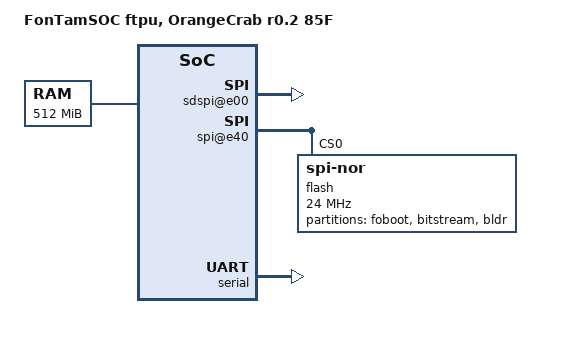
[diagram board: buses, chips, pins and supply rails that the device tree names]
// SPDX-License-Identifier: GPL-2.0-only
// 20261122 (c) William Fonkou Tambe

// FonTamSOC ftpu on the OrangeCrab r0.2 85F, as
// rv32-orangecrab0285/orangecrab0285.sv builds it: what does not depend on
// CPU_COUNT. The .dts including it adds the cpu nodes, and their interrupt
// controllers to irqctrl and to the timer.
//
// No node has a clock frequency: the kernel reads the timebase from the CSR
// 0xcc0 of the CPU, and each driver reads the clock of its device from the device
// itself; the only frequency is the limit of the SPI flash.

/ {
	#address-cells = <1>;
	#size-cells = <1>;
	model = "FonTamSOC ftpu, OrangeCrab r0.2 85F";
	compatible = "fontamsoc,orangecrab0285";

	// No baud rate: the console is the USB port, which ignores it.
	chosen {
		bootargs = "console=ttyS0 earlycon root=/dev/sd0p4 rootfstype=ext2 rootwait ro";
		stdout-path = &serial;
	};

	aliases {
		serial0 = &serial;
	};

	// DDR3 only: the SRAM from 0x1000 to 0x41000 stays apps/bootldr's, which
	// is resident, is warm-booted by any reset, and parks there the harts
	// which the kernel has not started.
	memory@41000 {
		device_type = "memory";
		reg = <0x41000 0x20000000>;
	};

	// No timebase-frequency: the kernel reads it from the CSR 0xcc0.
	cpus {
		#address-cells = <1>;
		#size-cells = <0>;
	};

	timer: timer {
		compatible = "fontamsoc,ftpu-timer";
	};

	soc {
		#address-cells = <1>;
		#size-cells = <1>;
		compatible = "simple-bus";
		interrupt-parent = <&irqctrl>;
		ranges;

		sdspi@e00 {
			compatible = "fontamsoc,sdspi";
			reg = <0xe00 0x8>;
			interrupts = <2>;
		};

		// The flash, at 24 Mbps at most, half the clock of the SPI
		// master, holds foboot, the DFU bootloader, then the bitstream,
		// then the data of apps/bootldr, up to 0xf80000, where foboot
		// stops writing.
		spi@e40 {
			compatible = "fontamsoc,spi";
			reg = <0xe40 0x8>;
			interrupts = <3>;
			#address-cells = <1>;
			#size-cells = <0>;

			flash@0 {
				compatible = "jedec,spi-nor";
				reg = <0>;
				spi-max-frequency = <24000000>;

				partitions {
					compatible = "fixed-partitions";
					#address-cells = <1>;
					#size-cells = <1>;

					partition@0 {
						label = "foboot";
						reg = <0x0 0x80000>;
						read-only;
					};

					partition@80000 {
						label = "bitstream";
						reg = <0x80000 0x180000>;
						read-only;
					};

					partition@200000 {
						label = "bldr";
						reg = <0x200000 0xd80000>;
					};
				};
			};
		};

		irqctrl: interrupt-controller@f00 {
			compatible = "fontamsoc,irqctrl";
			reg = <0xf00 0x4>;
			interrupt-controller;
			#interrupt-cells = <1>;
			fontamsoc,nsources = <4>;
		};

		// The USB port, a CDC-ACM serial port, has the registers and
		// the commands of the UART, and is driven as the UART; it
		// ignores the speed.
		serial: serial@f80 {
			compatible = "fontamsoc,serial-uart";
			reg = <0xf80 0x8>;
			interrupts = <1>;
		};

		dfltdev@fffffffc {
			compatible = "fontamsoc,dfltdev";
			reg = <0xfffffffc 0x4>;
			interrupts = <0>;
		};
	};
};
